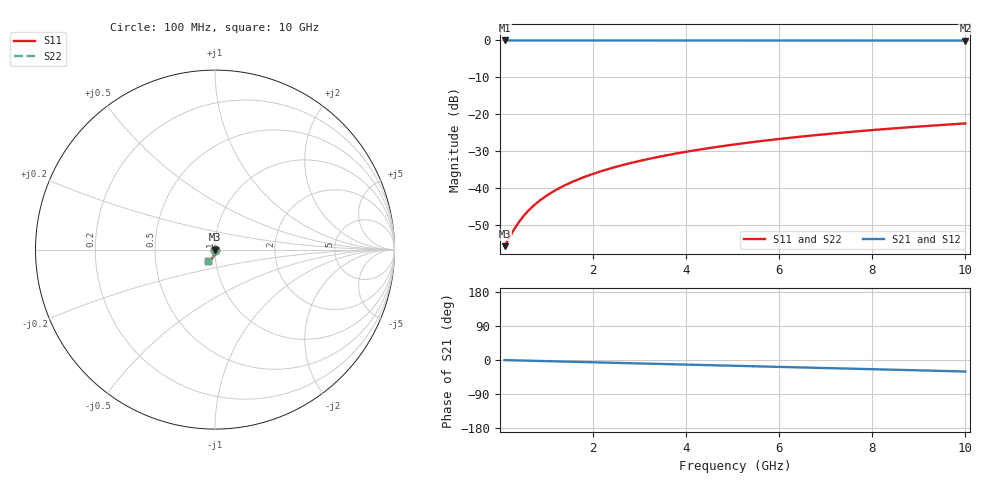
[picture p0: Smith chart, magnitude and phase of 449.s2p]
# Hz S RI R 50.00
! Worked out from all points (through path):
!   100 points, 100 MHz to 10 GHz, reference 50 ohm
!   highest |S21| = -0.01 dB at 100 MHz (marker M1); lowest = 0.0 dB at 10 GHz (marker M2)
!   group delay of S21, straight-line fit = 8.44 ps
!   lowest |S11| = -55.6 dB at 100 MHz (marker M3), VSWR 1.00, Z = 50.1 - j0.0794 ohm
!   |S11| at or under -10 dB: start of sweep to end of sweep
!   |S22| runs from -55.6 to -22.4 dB; largest |S21 - S12| = 0
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1e8  0.00146 -0.000792  0.9985 -0.00527  0.9985 -0.00527  0.00146 -0.000792
3e8  0.00144 -0.00238  0.9984 -0.0158  0.9984 -0.0158  0.00144 -0.00238
4e8  0.00141 -0.00317  0.9983 -0.0211  0.9983 -0.0211  0.00141 -0.00317
5e8  0.00138 -0.00396  0.9981 -0.0263  0.9981 -0.0263  0.00138 -0.00396
6e8  0.00133 -0.00475  0.998 -0.0316  0.998 -0.0316  0.00133 -0.00475
7e8  0.00128 -0.00554  0.9978 -0.0369  0.9978 -0.0369  0.00128 -0.00554
9e8  0.00115 -0.00712  0.9973 -0.0474  0.9973 -0.0474  0.00115 -0.00712
1e9  0.00107 -0.00791  0.997 -0.0527  0.997 -0.0527  0.00107 -0.00791
1.2e9  0.000889 -0.00948  0.9964 -0.0632  0.9964 -0.0632  0.000889 -0.00948
1.5e9  0.000552 -0.0118  0.9952 -0.079  0.9952 -0.079  0.000552 -0.0118
1.8e9  0.000139 -0.0142  0.9938 -0.0947  0.9938 -0.0947  0.000139 -0.0142
2.1e9  -0.000348 -0.0165  0.9921 -0.1105  0.9921 -0.1105  -0.000348 -0.0165
2.5e9  -0.00111 -0.0196  0.9895 -0.1314  0.9895 -0.1314  -0.00111 -0.0196
2.9e9  -0.00201 -0.0227  0.9864 -0.1523  0.9864 -0.1523  -0.00201 -0.0227
3.4e9  -0.00331 -0.0264  0.9819 -0.1783  0.9819 -0.1783  -0.00331 -0.0264
4.2e9  -0.0058 -0.0323  0.9732 -0.2197  0.9732 -0.2197  -0.0058 -0.0323
5.1e9  -0.0092 -0.0387  0.9614 -0.2658  0.9614 -0.2658  -0.0092 -0.0387
5.9e9  -0.0127 -0.0441  0.9489 -0.3063  0.9489 -0.3063  -0.0127 -0.0441
6.7e9  -0.0167 -0.0491  0.9347 -0.3462  0.9347 -0.3462  -0.0167 -0.0491
7.5e9  -0.0211 -0.0538  0.9188 -0.3855  0.9188 -0.3855  -0.0211 -0.0538
8.4e9  -0.0264 -0.0587  0.8989 -0.4289  0.8989 -0.4289  -0.0264 -0.0587
1e10  -0.0371 -0.0659  0.8583 -0.5035  0.8583 -0.5035  -0.0371 -0.0659
